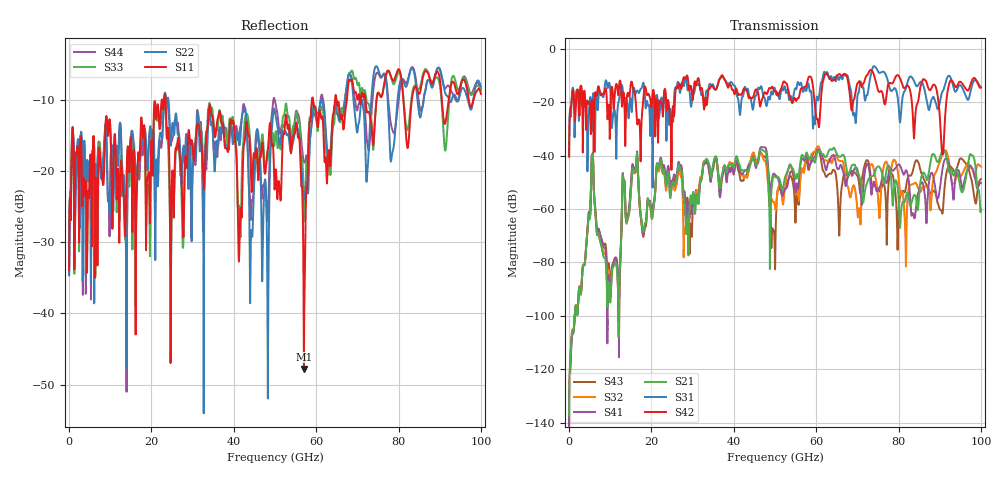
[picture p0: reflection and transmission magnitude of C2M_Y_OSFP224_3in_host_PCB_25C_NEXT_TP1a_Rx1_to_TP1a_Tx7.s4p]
# GHz S RI R 45
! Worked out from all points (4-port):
!   4000 points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, 25 MHz to 100 GHz, reference 45 ohm
!   strongest paths, dB at 25 MHz, 25.02 GHz, 50.02 GHz, 75.03 GHz, 100 GHz:
!     S42: -40.4, -26.7, -15.9, -15.6, -14.6
!     S31: -39.9, -23.9, -15.2, -8.5, -14.2
!     S21: -137.4, -50.4, -47.9, -44.1, -60.2
!     S41: -142.1, -49.3, -47.2, -52.7, -50.3
!     S32: -136.3, -51.1, -59.4, -55.7, -44.1
!     S43: -140.5, -50.3, -82.6, -52.5, -48.9
!   lowest |S11| = -47.8 dB at 57.02 GHz (marker M1), VSWR 1.01, Z = 45 + j0.364 ohm
!   |S11| at or under -10 dB: start of sweep to 22.49 GHz; 23.46 GHz to 58.97 GHz (35.51 GHz wide, 86.1 % of centre); 59.27 GHz to 64.57 GHz (5.296 GHz wide, 8.55 % of centre) (the widest 3 of 10)
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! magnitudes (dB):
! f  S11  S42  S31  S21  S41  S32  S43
! 25 MHz  -34.0  -40.4  -39.9  -137.4  -142.1  -136.3  -140.5
! 5.75 GHz  -17.6  -19.8  -18.5  -39.9  -39.7  -39.6  -39.4
! 11.9 GHz  -19.7  -17.2  -21.0  -90.8  -85.5  -90.2  -85.3
! 16.18 GHz  -43.0  -19.4  -16.8  -45.8  -44.9  -46.4  -45.5
! 49.6 GHz  -17.0  -15.0  -16.3  -47.9  -46.9  -57.4  -67.9
! 57.02 GHz  -47.8  -14.4  -15.6  -40.9  -41.8  -46.4  -45.4
! 100 GHz  -9.1  -14.6  -14.2  -60.2  -50.3  -44.1  -48.9
